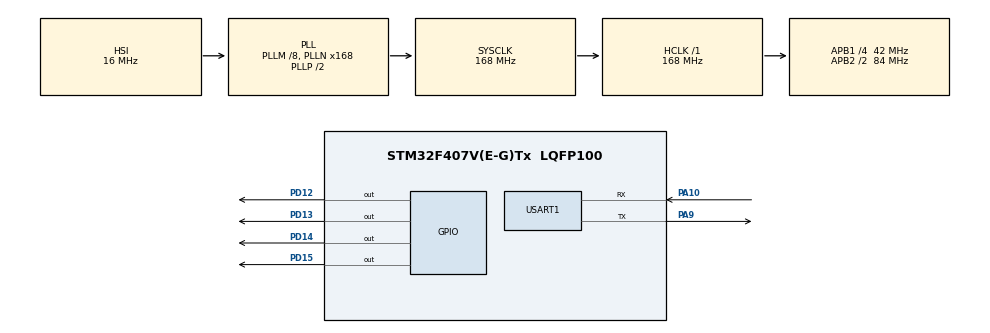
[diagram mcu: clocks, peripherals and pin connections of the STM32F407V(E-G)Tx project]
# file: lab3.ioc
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Dma.Request0=USART1_RX
Dma.USART1_RX.0.Direction=DMA_PERIPH_TO_MEMORY
Dma.USART1_RX.0.FIFOMode=DMA_FIFOMODE_DISABLE
Dma.USART1_RX.0.Instance=DMA2_Stream5
Dma.USART1_RX.0.MemDataAlignment=DMA_MDATAALIGN_BYTE
Dma.USART1_RX.0.MemInc=DMA_MINC_ENABLE
Dma.USART1_RX.0.Mode=DMA_CIRCULAR
Dma.USART1_RX.0.PeriphDataAlignment=DMA_PDATAALIGN_BYTE
Dma.USART1_RX.0.PeriphInc=DMA_PINC_DISABLE
Dma.USART1_RX.0.Priority=DMA_PRIORITY_LOW
Mcu.Family=STM32F4
Mcu.Name=STM32F407V(E-G)Tx
Mcu.Package=LQFP100
NVIC.DMA2_Stream5_IRQn=true\:0\:0\:false\:false\:true\:false\:true\:true
NVIC.PriorityGroup=NVIC_PRIORITYGROUP_4
NVIC.USART1_IRQn=true\:0\:0\:false\:false\:true\:true\:true\:true
PA10.Mode=Asynchronous
PA10.Signal=USART1_RX
PA13.Mode=Serial_Wire
PA13.Signal=SYS_JTMS-SWDIO
PA14.Mode=Serial_Wire
PA14.Signal=SYS_JTCK-SWCLK
PA9.Mode=Asynchronous
PA9.Signal=USART1_TX
PD12.Signal=GPIO_Output
PD13.Signal=GPIO_Output
PD14.Signal=GPIO_Output
PD15.Signal=GPIO_Output
PH0-OSC_IN.Mode=HSE-External-Oscillator
PH0-OSC_IN.Signal=RCC_OSC_IN
PH1-OSC_OUT.Mode=HSE-External-Oscillator
PH1-OSC_OUT.Signal=RCC_OSC_OUT
ProjectManager.HeapSize=0x200
ProjectManager.StackSize=0x400
ProjectManager.TargetToolchain=STM32CubeIDE
RCC.48MHZClocksFreq_Value=84000000
RCC.AHBFreq_Value=168000000
RCC.APB1CLKDivider=RCC_HCLK_DIV4
RCC.APB1Freq_Value=42000000
RCC.APB1TimFreq_Value=84000000
RCC.APB2CLKDivider=RCC_HCLK_DIV2
RCC.APB2Freq_Value=84000000
RCC.APB2TimFreq_Value=168000000
RCC.CortexFreq_Value=168000000
RCC.HCLKFreq_Value=168000000
RCC.HSE_VALUE=25000000
RCC.HSI_VALUE=16000000
RCC.LSE_VALUE=32768
RCC.PLLM=8
RCC.PLLN=168
RCC.SYSCLKFreq_VALUE=168000000
RCC.SYSCLKSource=RCC_SYSCLKSOURCE_PLLCLK
RCC.VCOOutputFreq_Value=336000000
USART1.VirtualMode=VM_ASYNC
board=custom

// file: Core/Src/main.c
/* USER CODE BEGIN Header */
/**
  ******************************************************************************
  * @file           : main.c
  * @brief          : Main program body
  ******************************************************************************
  */
/* USER CODE END Header */
#include "main.h"

/* USER CODE BEGIN Includes */
#include "common/mavlink.h"
#include "math.h"
/* USER CODE END Includes */

/* USER CODE BEGIN PTD */

#define MAVLINK_BUFFER_SIZE 280
uint8_t mavlink_rx_buffer[MAVLINK_BUFFER_SIZE];

mavlink_message_t msg;
mavlink_status_t status;
mavlink_attitude_t att;

float pitch_deg = 0, roll_deg = 0, yaw_deg = 0;
float max_angle = 0;

static uint16_t status_msg_id = 0;
static uint8_t last_level = 0;

/* USER CODE END PTD */

UART_HandleTypeDef huart1;
DMA_HandleTypeDef hdma_usart1_rx;

void SystemClock_Config(void);
static void MX_GPIO_Init(void);
static void MX_DMA_Init(void);
static void MX_USART1_UART_Init(void);

/* USER CODE BEGIN 0 */

void send_status_text(const char* text)
{
    mavlink_message_t msg_out;
    uint8_t buffer[MAVLINK_MAX_PACKET_LEN];

    mavlink_msg_statustext_pack(
        1,                       // System ID của STM32
        200,                     // Component ID
        &msg_out,
        MAV_SEVERITY_WARNING,
        text,
        status_msg_id++,          // Message ID tự tăng
        0                         // chunk_seq
    );

    uint16_t len = mavlink_msg_to_send_buffer(buffer, &msg_out);
    HAL_UART_Transmit(&huart1, buffer, len, HAL_MAX_DELAY);
}

void notify_angle_threshold(uint8_t level)
{
    const char* msg = NULL;

    if (level == 1) msg = "Angle > 10 degrees";
    else if (level == 2) msg = "Angle > 30 degrees";
    else if (level == 3) msg = "Angle > 45 degrees";
    else return;

    send_status_text(msg);
}

void process_byte(uint8_t byte)
{
    if (mavlink_parse_char(MAVLINK_COMM_0, byte, &msg, &status)) {

        if (msg.msgid == MAVLINK_MSG_ID_ATTITUDE) {
            HAL_GPIO_WritePin(GPIOD, GPIO_PIN_12, GPIO_PIN_SET);

            mavlink_msg_attitude_decode(&msg, &att);

            pitch_deg = att.pitch * 180.0f / M_PI;
            roll_deg  = att.roll  * 180.0f / M_PI;
            yaw_deg   = att.yaw   * 180.0f / M_PI;

            max_angle = fmaxf(fmaxf(fabsf(pitch_deg), fabsf(roll_deg)), fabsf(yaw_deg));

            // Reset LED
            HAL_GPIO_WritePin(GPIOD, GPIO_PIN_15, GPIO_PIN_RESET);
            HAL_GPIO_WritePin(GPIOD, GPIO_PIN_14, GPIO_PIN_RESET);
            HAL_GPIO_WritePin(GPIOD, GPIO_PIN_13, GPIO_PIN_RESET);

            uint8_t current_level = (max_angle > 45) ? 3 : (max_angle > 30) ? 2 : (max_angle > 10) ? 1 : 0;

            if (current_level != last_level) {
                last_level = current_level;
                notify_angle_threshold(current_level);
            }

            if (current_level == 3) HAL_GPIO_WritePin(GPIOD, GPIO_PIN_13, GPIO_PIN_SET);
            else if (current_level == 2) HAL_GPIO_WritePin(GPIOD, GPIO_PIN_14, GPIO_PIN_SET);
            else if (current_level == 1) HAL_GPIO_WritePin(GPIOD, GPIO_PIN_15, GPIO_PIN_SET);
        }
    }
}

void HAL_UARTEx_RxEventCallback(UART_HandleTypeDef *huart, uint16_t Size)
{
    if (huart->Instance == USART1) {
        for (uint16_t i = 0; i < Size; i++) {
            process_byte(mavlink_rx_buffer[i]);
        }

        HAL_UARTEx_ReceiveToIdle_DMA(&huart1, mavlink_rx_buffer, MAVLINK_BUFFER_SIZE);
    }
}

/* USER CODE END 0 */

int main(void)
{

  /* MCU Configuration--------------------------------------------------------*/

  /* Reset of all peripherals, Initializes the Flash interface and the Systick. */
  HAL_Init();

  /* Configure the system clock */
  SystemClock_Config();

  /* Initialize all configured peripherals */
  MX_GPIO_Init();
  MX_DMA_Init();
  MX_USART1_UART_Init();
  HAL_UARTEx_ReceiveToIdle_DMA(&huart1, mavlink_rx_buffer, MAVLINK_BUFFER_SIZE);

  /* Infinite loop */
  /* USER CODE BEGIN WHILE */
  while (1)
  {

  }

  /* USER CODE END 3 */
}

void SystemClock_Config(void)
{
  RCC_OscInitTypeDef RCC_OscInitStruct = {0};
  RCC_ClkInitTypeDef RCC_ClkInitStruct = {0};

  /** Configure the main internal regulator output voltage
  */
  __HAL_RCC_PWR_CLK_ENABLE();
  __HAL_PWR_VOLTAGESCALING_CONFIG(PWR_REGULATOR_VOLTAGE_SCALE1);

  /** Initializes the RCC Oscillators according to the specified parameters
  * in the RCC_OscInitTypeDef structure.
  */
  RCC_OscInitStruct.OscillatorType = RCC_OSCILLATORTYPE_HSI;
  RCC_OscInitStruct.HSIState = RCC_HSI_ON;
  RCC_OscInitStruct.HSICalibrationValue = RCC_HSICALIBRATION_DEFAULT;
  RCC_OscInitStruct.PLL.PLLState = RCC_PLL_ON;
  RCC_OscInitStruct.PLL.PLLSource = RCC_PLLSOURCE_HSI;
  RCC_OscInitStruct.PLL.PLLM = 8;
  RCC_OscInitStruct.PLL.PLLN = 168;
  RCC_OscInitStruct.PLL.PLLP = RCC_PLLP_DIV2;
  RCC_OscInitStruct.PLL.PLLQ = 4;
  if (HAL_RCC_OscConfig(&RCC_OscInitStruct) != HAL_OK)
  {
    Error_Handler();
  }

  /** Initializes the CPU, AHB and APB buses clocks
  */
  RCC_ClkInitStruct.ClockType = RCC_CLOCKTYPE_HCLK|RCC_CLOCKTYPE_SYSCLK
                              |RCC_CLOCKTYPE_PCLK1|RCC_CLOCKTYPE_PCLK2;
  RCC_ClkInitStruct.SYSCLKSource = RCC_SYSCLKSOURCE_PLLCLK;
  RCC_ClkInitStruct.AHBCLKDivider = RCC_SYSCLK_DIV1;
  RCC_ClkInitStruct.APB1CLKDivider = RCC_HCLK_DIV4;
  RCC_ClkInitStruct.APB2CLKDivider = RCC_HCLK_DIV2;

  if (HAL_RCC_ClockConfig(&RCC_ClkInitStruct, FLASH_LATENCY_5) != HAL_OK)
  {
    Error_Handler();
  }
}

static void MX_USART1_UART_Init(void)
{

  huart1.Instance = USART1;
  huart1.Init.BaudRate = 115200;
  huart1.Init.WordLength = UART_WORDLENGTH_8B;
  huart1.Init.StopBits = UART_STOPBITS_1;
  huart1.Init.Parity = UART_PARITY_NONE;
  huart1.Init.Mode = UART_MODE_TX_RX;
  huart1.Init.HwFlowCtl = UART_HWCONTROL_NONE;
  huart1.Init.OverSampling = UART_OVERSAMPLING_16;
  if (HAL_UART_Init(&huart1) != HAL_OK)
  {
    Error_Handler();
  }

}

static void MX_DMA_Init(void)
{

  /* DMA controller clock enable */
  __HAL_RCC_DMA2_CLK_ENABLE();

  /* DMA interrupt init */
  /* DMA2_Stream5_IRQn interrupt configuration */
  HAL_NVIC_SetPriority(DMA2_Stream5_IRQn, 0, 0);
  HAL_NVIC_EnableIRQ(DMA2_Stream5_IRQn);

}

static void MX_GPIO_Init(void)
{
  GPIO_InitTypeDef GPIO_InitStruct = {0};

  /* GPIO Ports Clock Enable */
  __HAL_RCC_GPIOH_CLK_ENABLE();
  __HAL_RCC_GPIOD_CLK_ENABLE();
  __HAL_RCC_GPIOA_CLK_ENABLE();

  /*Configure GPIO pin Output Level */
  HAL_GPIO_WritePin(GPIOD, GPIO_PIN_12|GPIO_PIN_13|GPIO_PIN_14|GPIO_PIN_15, GPIO_PIN_RESET);

  /*Configure GPIO pins : PD12 PD13 PD14 PD15 */
  GPIO_InitStruct.Pin = GPIO_PIN_12|GPIO_PIN_13|GPIO_PIN_14|GPIO_PIN_15;
  GPIO_InitStruct.Mode = GPIO_MODE_OUTPUT_PP;
  GPIO_InitStruct.Pull = GPIO_NOPULL;
  GPIO_InitStruct.Speed = GPIO_SPEED_FREQ_LOW;
  HAL_GPIO_Init(GPIOD, &GPIO_InitStruct);

}

void Error_Handler(void)
{
  __disable_irq();
  while (1)
  {
  }
}
